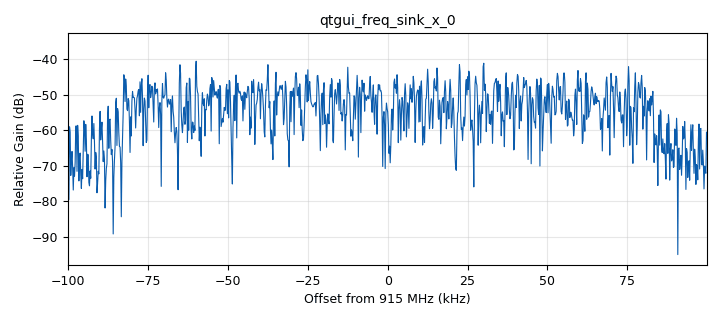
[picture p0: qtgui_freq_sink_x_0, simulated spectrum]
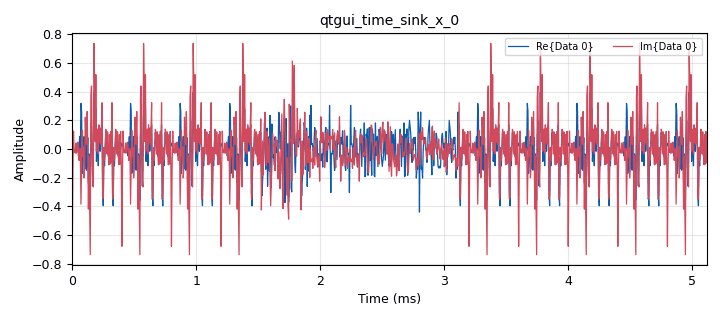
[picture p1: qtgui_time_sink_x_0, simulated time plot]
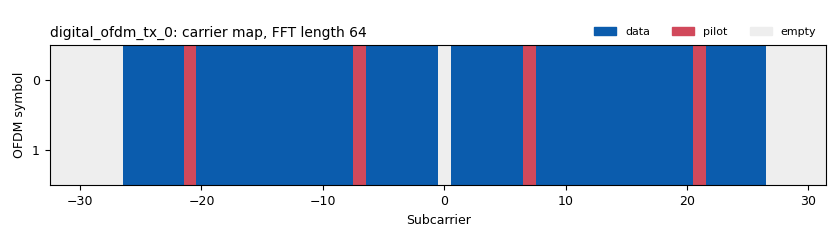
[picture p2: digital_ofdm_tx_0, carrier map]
options:
  parameters:
    author: USER
    generate_options: qt_gui
    id: tx_ofdm_simp
    output_language: python
    title: Not titled yet
  states: {}

blocks:
- name: bandwidth
  id: variable
  parameters:
    value: '56000000'
  states: {}
- name: center_freq
  id: variable_qtgui_range
  parameters:
    label: Center Frequency
    start: '70000000'
    step: '1000000'
    stop: '6000000000'
    value: '5030000000'
  states: {state: disabled}
- name: center_freq
  id: variable_qtgui_range
  parameters:
    label: Center Frequency
    start: '70000000'
    step: '1000000'
    stop: '6000000000'
    value: '915000000'
  states: {}
- name: div
  id: variable_qtgui_range
  parameters:
    start: '1'
    step: '1'
    stop: '100'
    value: '5'
  states: {}
- name: fft_len
  id: variable
  parameters:
    value: '64'
  states: {}
- name: gain
  id: variable_qtgui_range
  parameters:
    start: '0'
    step: '0.01'
    stop: '1'
    value: '0.8'
  states: {}
- name: length_tag_key
  id: variable
  parameters:
    value: '"packet_len"'
  states: {}
- name: mul
  id: variable_qtgui_range
  parameters:
    start: '0'
    step: '0.005'
    stop: '1'
    value: '0.02'
  states: {}
- name: occupied_carriers
  id: variable
  parameters:
    value: (list(range(-26, -21)) + list(range(-20, -7)) + list(range(-6, 0)) + list(range(1, 7)) + list(range(8, 21)) + list(range(22, 27)),)
  states: {}
- name: packet_len
  id: variable
  parameters:
    value: 64*2
  states: {}
- name: pilot_carriers
  id: variable
  parameters:
    value: ((-21, -7, 7, 21,),)
  states: {}
- name: pilot_symbols
  id: variable
  parameters:
    value: ((1, 1, 1, -1,),)
  states: {}
- name: rolloff
  id: variable
  parameters:
    value: '0'
  states: {}
- name: samp_rate
  id: variable_qtgui_range
  parameters:
    start: '1'
    step: '100000'
    stop: '20000000'
    value: '10'
  states: {state: disabled}
- name: samp_rate_b
  id: variable
  parameters:
    value: 1000000/div
  states: {}
- name: sync_word1
  id: variable
  parameters:
    value: '[0., 0., 0., 0., 0., 0., 0., 1.41421356, 0., -1.41421356, 0., 1.41421356, 0., -1.41421356, 0., -1.41421356, 0., -1.41421356, 0., 1.41421356, 0., -1.41421356, 0., 1.41421356, 0., -1.41421356, 0., -1.41421356, 0., -1.41421356, 0., -1.41421356, 0., 1.41421356, 0., -1.41421356, 0., 1.41421356, 0., 1.41421356, 0., 1.41421356, 0., -1.41421356, 0., 1.41421356, 0., 1.41421356, 0., 1.41421356, 0., -1.41421356, 0., 1.41421356, 0., 1.41421356, 0., 1.41421356, 0., 0., 0., 0., 0., 0.]'
  states: {}
- name: sync_word2
  id: variable
  parameters:
    value: '[0, 0, 0, 0, 0, 0, -1, -1, -1, -1, 1, 1, -1, -1, -1, 1, -1, 1, 1, 1, 1, 1, -1, -1, -1, -1, -1, 1, -1, -1, 1, -1, 0, 1, -1, 1, 1, 1, -1, 1, 1, 1, -1, 1, 1, 1, 1, -1, 1, -1, -1, -1, 1, -1, 1, -1, -1, -1, -1, 0, 0, 0, 0, 0] '
  states: {}
- name: analog_random_source_x_0
  id: analog_random_source_x
  parameters:
    max: '101'
    min: '100'
    num_samps: '1'
    repeat: 'True'
    type: byte
  states: {}
- name: blocks_file_source_0
  id: blocks_file_source
  parameters:
    file: C:\Users\USER\Downloads\lorem.txt
    repeat: 'True'
    type: byte
  states: {state: disabled}
- name: blocks_head_0
  id: blocks_head
  parameters:
    num_items: packet_len*10
    type: byte
  states: {state: bypassed}
- name: blocks_multiply_const_vxx_0
  id: blocks_multiply_const_vxx
  parameters:
    const: mul
    type: complex
  states: {}
- name: blocks_stream_to_tagged_stream_0
  id: blocks_stream_to_tagged_stream
  parameters:
    len_tag_key: length_tag_key
    packet_len: packet_len
    type: byte
  states: {}
- name: blocks_tag_debug_0
  id: blocks_tag_debug
  parameters:
    name: Rx'd Packets
    type: byte
  states: {state: disabled}
- name: blocks_tag_gate_0
  id: blocks_tag_gate
  parameters:
    propagate_tags: 'False'
    type: complex
  states: {}
- name: digital_ofdm_rx_0
  id: digital_ofdm_rx
  parameters:
    cp_len: fft_len//4
    fft_len: fft_len
    header_mod: '"BPSK"'
    occupied_carriers: occupied_carriers
    packet_len_key: '"length"'
    payload_mod: '"QPSK"'
    pilot_carriers: pilot_carriers
    pilot_symbols: pilot_symbols
    sync_word1: sync_word1
    sync_word2: sync_word2
  states: {state: disabled}
- name: digital_ofdm_tx_0
  id: digital_ofdm_tx
  parameters:
    cp_len: fft_len//4
    fft_len: fft_len
    header_mod: '"BPSK"'
    occupied_carriers: occupied_carriers
    packet_len_key: length_tag_key
    payload_mod: '"QPSK"'
    pilot_carriers: pilot_carriers
    pilot_symbols: pilot_symbols
    rolloff: '0'
    sync_word1: sync_word1
    sync_word2: sync_word2
  states: {}
- name: import_1
  id: import
  parameters:
    imports: from gnuradio.digital.utils import tagged_streams
  states: {}
- name: qtgui_freq_sink_x_0
  id: qtgui_freq_sink_x
  parameters:
    autoscale: 'True'
    bw: samp_rate_b
    fc: center_freq
    fftsize: '1024'
    type: complex
  states: {}
- name: qtgui_time_sink_x_0
  id: qtgui_time_sink_x
  parameters:
    autoscale: 'True'
    size: '1024'
    srate: samp_rate_b
    type: complex
  states: {}
- name: uhd_usrp_sink_0
  id: uhd_usrp_sink
  parameters:
    ant0: '"TX/RX"'
    bw0: bandwidth
    center_freq0: center_freq
    gain0: gain
    gain_type0: normalized
    samp_rate: samp_rate_b
    sync: sync
    type: fc32
  states: {}

connections:
- [analog_random_source_x_0, '0', blocks_head_0, '0']
- [blocks_file_source_0, '0', blocks_head_0, '0']
- [blocks_head_0, '0', blocks_stream_to_tagged_stream_0, '0']
- [blocks_multiply_const_vxx_0, '0', blocks_tag_gate_0, '0']
- [blocks_stream_to_tagged_stream_0, '0', digital_ofdm_tx_0, '0']
- [blocks_tag_gate_0, '0', digital_ofdm_rx_0, '0']
- [blocks_tag_gate_0, '0', qtgui_freq_sink_x_0, '0']
- [blocks_tag_gate_0, '0', qtgui_time_sink_x_0, '0']
- [blocks_tag_gate_0, '0', uhd_usrp_sink_0, '0']
- [digital_ofdm_rx_0, '0', blocks_tag_debug_0, '0']
- [digital_ofdm_tx_0, '0', blocks_multiply_const_vxx_0, '0']

metadata:
  file_format: 1
